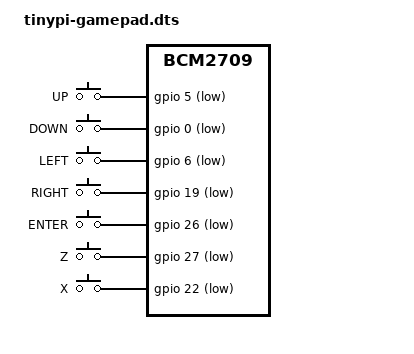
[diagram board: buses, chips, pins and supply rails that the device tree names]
/*
 * TinyPi Game Controller Overlay
 *
 * Copyright (c) 2018 Guillermo A. Amaral B.
 *
 * This program is free software; you can redistribute it and/or modify
 * it under the terms of the GNU General Public License version 2 as
 * published by the Free Software Foundation.
*/

/dts-v1/;
/plugin/;

/ {
    compatible = "brcm,bcm2835", "brcm,bcm2708", "brcm,bcm2709";

    fragment@0 {
        target-path = "/soc";
        __overlay__ {
            gamepad: gamepad {
                compatible = "gpio-keys";
                pinctrl-names = "default";
                pinctrl-0 = <&gamepad_pins>;
                status = "okay";

                button@5 {
                    label = "UP";
                    linux,code = <103>;  // KEY_UP
                    gpios = <&gpio 5 1>; // GPIO_ACTIVE_LOW
                };

                button@0 {
                    label = "DOWN";
                    linux,code = <108>;  // KEY_DOWN
                    gpios = <&gpio 0 1>; // GPIO_ACTIVE_LOW
                };

                button@6 {
                    label = "LEFT";
                    linux,code = <105>;  // KEY_LEFT
                    gpios = <&gpio 6 1>; // GPIO_ACTIVE_LOW
                };

                button@19 {
                    label = "RIGHT";
                    linux,code = <106>;   // KEY_RIGHT
                    gpios = <&gpio 19 1>; // GPIO_ACTIVE_LOW
                };

                button@26 {
                    label = "ENTER";
                    linux,code = <28>;    // KEY_ENTER
                    gpios = <&gpio 26 1>; // GPIO_ACTIVE_LOW
                };

                button@27 {
                    label = "Z";
                    linux,code = <44>;    // KEY_Z
                    gpios = <&gpio 27 1>; // GPIO_ACTIVE_LOW
                };

                button@22 {
                    label = "X";
                    linux,code = <45>;    // KEY_X
                    gpios = <&gpio 22 1>; // GPIO_ACTIVE_LOW
                };
            };
        };
    };

    fragment@1 {
        target = <&gpio>;
        __overlay__ {
            gamepad_pins: gamepad_pins {
                brcm,pins = <5 0 6 19 26 27 22>;
                brcm,function = <0>;
                brcm,pull = <2>;
            };
        };
    };

    __overrides__ {
        gpio_pin = <&gamepad>,"gpios:4",
                   <&gamepad_pins>,"brcm,pins:0";
        gpio_pull = <&gamepad_pins>,"brcm,pull:0";
        active_low = <&gamepad>,"gpios:8";
    };
};
